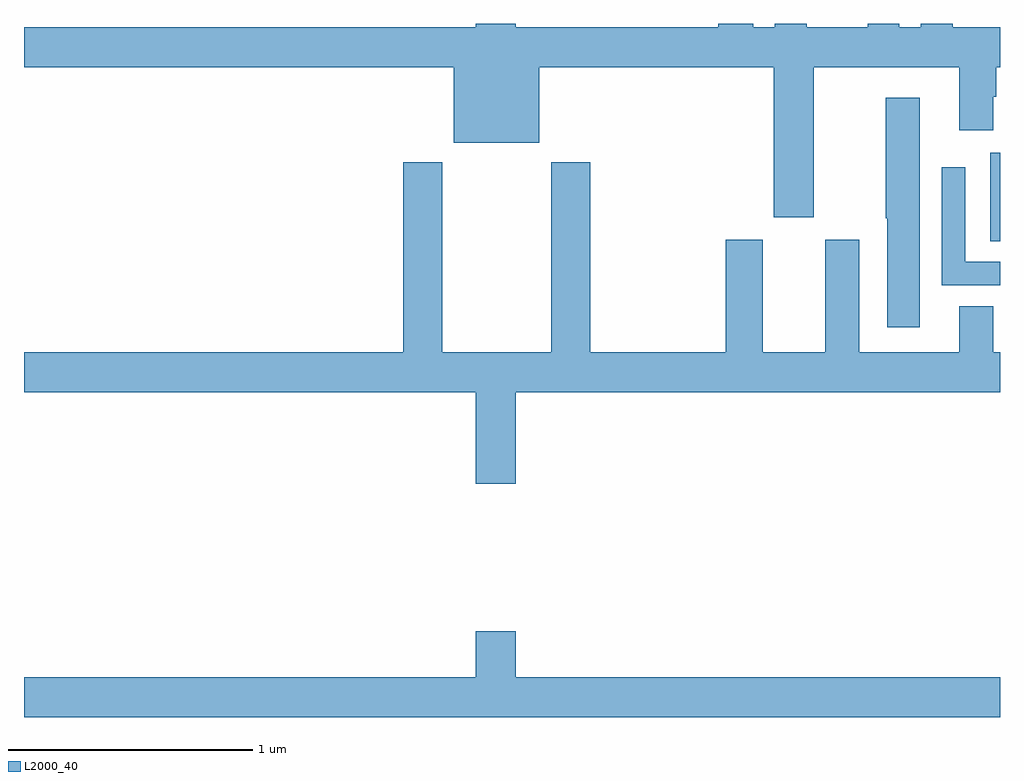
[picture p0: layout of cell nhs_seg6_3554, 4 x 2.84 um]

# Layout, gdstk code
import gdstk
lib = gdstk.Library(unit=1e-6, precision=1e-09)
def R(c, l, rs):  # rectangles x0, y0, x1, y1
    for r in rs: c.add(gdstk.rectangle(r[:2], r[2:], *l))
def P(c, l, *ps):  # polygons
    for p in ps: c.add(gdstk.Polygon(p, *l))
L2000_40 = (2000, 40)

nhs_seg6_3554 = lib.new_cell('nhs_seg6_3554')
R(nhs_seg6_3554, L2000_40, [(322.961,962.608,323,962.971)])
P(nhs_seg6_3554, L2000_40, [(322.237,963.32),(322.832,963.32),(322.832,963.063),(322.972,963.063),(322.972,963.2),(322.985,963.2),(322.985,963.32),(323,963.32),(323,963.484),(322.807,963.484),(322.807,963.5),(322.676,963.5),(322.676,963.484),(322.588,963.484),(322.588,963.5),(322.457,963.5),(322.457,963.484),(322.207,963.484),(322.207,963.5),(322.076,963.5),(322.076,963.484),(321.988,963.484),(321.988,963.5),(321.845,963.5),(321.845,963.484),(321.016,963.484),(321.016,963.5),(320.852,963.5),(320.852,963.484),(319,963.484),(319,963.32),(320.762,963.32),(320.762,963.011),(321.112,963.011),(321.112,963.32),(322.073,963.32),(322.073,962.706),(322.237,962.706)],
  [(322.672,963.196),(322.531,963.196),(322.531,962.701),(322.538,962.701),(322.538,962.256),(322.672,962.256)],
  [(321.016,961.988),(323,961.988),(323,962.152),(322.972,962.152),(322.972,962.342),(322.832,962.342),(322.832,962.152),(322.423,962.152),(322.423,962.614),(322.283,962.614),(322.283,962.152),(322.027,962.152),(322.027,962.614),(321.875,962.614),(321.875,962.152),(321.32,962.152),(321.32,962.932),(321.16,962.932),(321.16,962.152),(320.715,962.152),(320.715,962.932),(320.555,962.932),(320.555,962.152),(319,962.152),(319,961.988),(320.852,961.988),(320.852,961.614),(321.016,961.614)],
  [(323,962.523),(322.857,962.523),(322.857,962.911),(322.761,962.911),(322.761,962.427),(323,962.427)],
  [(323,960.82),(321.016,960.82),(321.016,961.009),(320.852,961.009),(320.852,960.82),(319,960.82),(319,960.656),(323,960.656)])

lib.write_gds('nhs_seg6_3554.gds')
